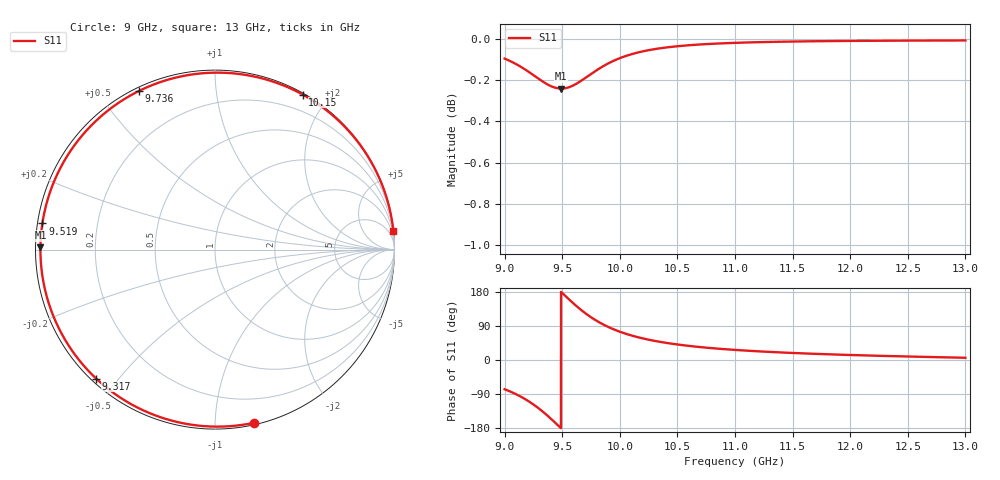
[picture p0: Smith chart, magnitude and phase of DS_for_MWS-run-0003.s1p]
! TOUCHSTONE file generated by CST DESIGN STUDIO
! Date and time: Tue Feb  4 14:24:07 2025
! Project name: C:\Work\MatlabApps\UnitCellOptimizationMatlab\CST\unitcell.cst
! Tree item: Tasks\Sweep1\SPara1\S-Parameters
! Header version: 2024
! Port assignment regex: !\s*Touchstone port\s*([0-9]+)\s*=\s*(CST MWS port|CST DES external port|CST DES block port)\s*(.+)\s* \(\"(.*)\"\)(\s*mode\s*([0-9]+))?.*
! Touchstone port assignment:
! Touchstone port 1 = CST DES external port 1 ("")
# GHz S MA R 50
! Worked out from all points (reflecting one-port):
!   4001 points, 9 GHz to 13 GHz, reference 50 ohm
!   lowest |S11| = -0.2 dB at 9.492 GHz (marker M1), VSWR 72.28, Z = 0.692 + j0.331 ohm
!   phase of S11 starts at -77 deg and turns -277 deg over the sweep
!   S11 on the Smith chart (normalised r, x): 9 GHz: 0.01, -1.25; 9.317 GHz: 0.01, -0.44; 9.519 GHz: 0.01, +0.08; 9.736 GHz: 0.01, +0.63; 10.15 GHz: 0.01, +1.71; 13 GHz: 0, +19
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9  0.9892 -77.2
9.081  0.9868 -87.6
9.181  0.983 -103.7
9.252  0.98 -117.7
9.317  0.9771 -132.7
9.363  0.9753 -144.4
9.412  0.9738 -157.8
9.453  0.973 -169.4
9.492  0.9727 179.2
9.5  0.9727 176.9
9.519  0.9728 171.4
9.572  0.9738 156.3
9.632  0.9757 140.1
9.683  0.9778 127.5
9.736  0.9801 115.7
9.79  0.9824 105.0
9.849  0.9847 94.8
9.924  0.9873 83.9
10  0.9894 74.6
10.152  0.9925 60.5
10.31  0.9945 50.0
10.5  0.996 40.9
10.722  0.9971 33.4
11  0.9979 26.6
11.5  0.9987 18.6
12  0.999 13.2
12.5  0.9992 9.2
13  0.9993 5.9
